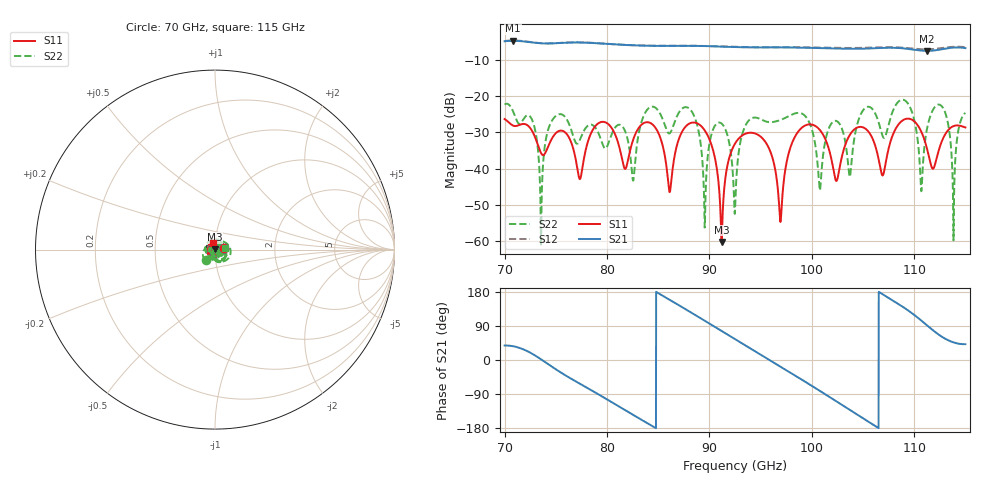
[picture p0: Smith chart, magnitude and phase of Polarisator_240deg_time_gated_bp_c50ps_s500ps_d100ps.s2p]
# Hz S RI R 1.000000
! Metas.Vna.Tools, 2.4.7898.19887
! Metas.Vna.Data, 2.4.7898.19873
! Created: UTC 2021.09.30 14:31:00
! FREQ  re:S1,1  im:S1,1  re:S2,1  im:S2,1  re:S1,2  im:S1,2  re:S2,2  im:S2,2
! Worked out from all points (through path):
!   2251 points, 70 GHz to 115 GHz, reference 1 ohm
!   highest |S21| = -4.65 dB at 70.82 GHz (marker M1); lowest = -7.4 dB at 111.3 GHz (marker M2)
!   lowest |S11| = -60.3 dB at 91.2 GHz (marker M3), VSWR 1.00, Z = 1 + j0.00187 ohm
!   |S11| at or under -10 dB: start of sweep to end of sweep
!   |S22| runs from -61.5 to -21.0 dB; largest |S21 - S12| = 0.11
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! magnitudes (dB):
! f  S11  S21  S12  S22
! 70 GHz  -26.3  -4.8  -4.7  -22.3
! 70.82 GHz  -28.1  -4.7  -4.6  -24.1
! 73.56 GHz  -35.7  -5.4  -5.3  -61.5
! 74.8 GHz  -30.9  -5.4  -5.3  -26.0
! 77.5 GHz  -41.5  -5.1  -5.1  -31.1
! 82.54 GHz  -32.1  -5.9  -5.9  -43.4
! 85 GHz  -30.1  -6.1  -6.0  -24.0
! 86.12 GHz  -46.5  -6.1  -6.0  -30.3
! 88.32 GHz  -27.3  -6.1  -6.0  -24.4
! 89.56 GHz  -29.5  -6.1  -6.1  -55.8
! 91.2 GHz  -60.3  -6.3  -6.2  -27.6
! 92.5 GHz  -33.1  -6.4  -6.3  -51.7
! 93.68 GHz  -30.2  -6.5  -6.4  -27.3
! 96.94 GHz  -54.8  -6.5  -6.4  -26.6
! 100 GHz  -27.8  -6.6  -6.5  -29.1
! 100.8 GHz  -29.3  -6.7  -6.5  -46.1
! 102.1 GHz  -39.8  -6.8  -6.6  -27.0
! 107.5 GHz  -34.5  -6.6  -6.4  -27.8
! 111.3 GHz  -34.8  -7.4  -7.0  -28.6
! 112.9 GHz  -31.4  -6.9  -6.6  -23.5
! 113.9 GHz  -28.2  -6.5  -6.3  -54.9
! 115 GHz  -28.6  -6.7  -6.4  -24.6
